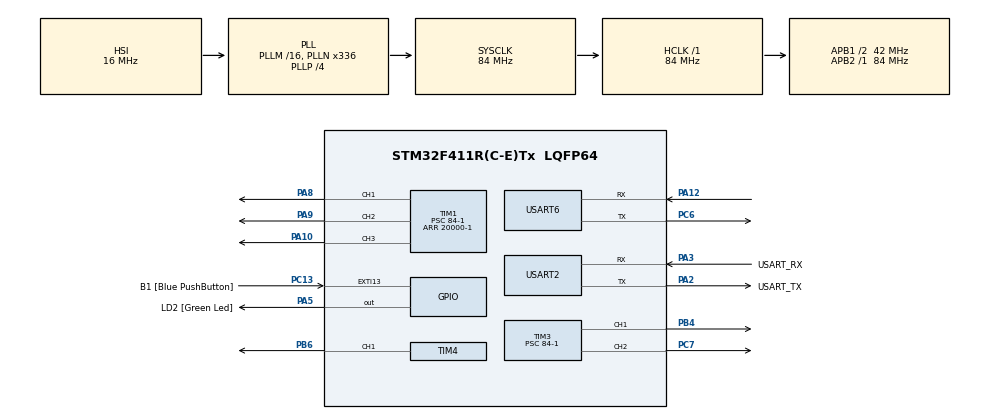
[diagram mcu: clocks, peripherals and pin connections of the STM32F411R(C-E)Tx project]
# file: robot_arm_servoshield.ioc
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Dma.Request0=USART2_TX
Dma.Request1=USART2_RX
Dma.Request2=USART6_RX
Dma.USART2_RX.1.Direction=DMA_PERIPH_TO_MEMORY
Dma.USART2_RX.1.FIFOMode=DMA_FIFOMODE_DISABLE
Dma.USART2_RX.1.Instance=DMA1_Stream5
Dma.USART2_RX.1.MemDataAlignment=DMA_MDATAALIGN_BYTE
Dma.USART2_RX.1.MemInc=DMA_MINC_ENABLE
Dma.USART2_RX.1.Mode=DMA_NORMAL
Dma.USART2_RX.1.PeriphDataAlignment=DMA_PDATAALIGN_BYTE
Dma.USART2_RX.1.PeriphInc=DMA_PINC_DISABLE
Dma.USART2_RX.1.Priority=DMA_PRIORITY_LOW
Dma.USART2_TX.0.Direction=DMA_MEMORY_TO_PERIPH
Dma.USART2_TX.0.FIFOMode=DMA_FIFOMODE_DISABLE
Dma.USART2_TX.0.Instance=DMA1_Stream6
Dma.USART2_TX.0.MemDataAlignment=DMA_MDATAALIGN_BYTE
Dma.USART2_TX.0.MemInc=DMA_MINC_ENABLE
Dma.USART2_TX.0.Mode=DMA_NORMAL
Dma.USART2_TX.0.PeriphDataAlignment=DMA_PDATAALIGN_BYTE
Dma.USART2_TX.0.PeriphInc=DMA_PINC_DISABLE
Dma.USART2_TX.0.Priority=DMA_PRIORITY_LOW
Dma.USART6_RX.2.Direction=DMA_PERIPH_TO_MEMORY
Dma.USART6_RX.2.FIFOMode=DMA_FIFOMODE_DISABLE
Dma.USART6_RX.2.Instance=DMA2_Stream1
Dma.USART6_RX.2.MemDataAlignment=DMA_MDATAALIGN_BYTE
Dma.USART6_RX.2.MemInc=DMA_MINC_ENABLE
Dma.USART6_RX.2.Mode=DMA_NORMAL
Dma.USART6_RX.2.PeriphDataAlignment=DMA_PDATAALIGN_BYTE
Dma.USART6_RX.2.PeriphInc=DMA_PINC_DISABLE
Dma.USART6_RX.2.Priority=DMA_PRIORITY_LOW
FREERTOS.Tasks01=defaultTask,0,256,StartDefaultTask,Default,NULL,Dynamic,NULL,NULL;myTask02,-3,128,StartTask02,Default,NULL,Dynamic,NULL,NULL;myTask03,-3,128,StartTask03,Default,NULL,Dynamic,NULL,NULL;myTask04,-3,128,StartTask04,Default,NULL,Dynamic,NULL,NULL;myTask05,-3,128,StartTask05,Default,NULL,Dynamic,NULL,NULL;myTask06,-3,128,StartTask06,Default,NULL,Dynamic,NULL,NULL;myTask07,-3,128,StartTask07,Default,NULL,Dynamic,NULL,NULL
FREERTOS.configUSE_NEWLIB_REENTRANT=1
Mcu.Family=STM32F4
Mcu.Name=STM32F411R(C-E)Tx
Mcu.Package=LQFP64
NVIC.DMA1_Stream5_IRQn=true\:5\:0\:false\:false\:true\:true\:false\:true\:true
NVIC.DMA1_Stream6_IRQn=true\:5\:0\:false\:false\:true\:true\:false\:true\:true
NVIC.DMA2_Stream1_IRQn=true\:5\:0\:false\:false\:true\:true\:false\:true\:true
NVIC.EXTI15_10_IRQn=true\:5\:0\:false\:false\:true\:true\:true\:true\:true
NVIC.PriorityGroup=NVIC_PRIORITYGROUP_4
NVIC.TIM1_CC_IRQn=true\:5\:0\:false\:false\:true\:true\:true\:true\:true
NVIC.TIM1_TRG_COM_TIM11_IRQn=true\:5\:0\:false\:false\:true\:false\:false\:true\:true
NVIC.TIM3_IRQn=true\:5\:0\:false\:false\:true\:true\:true\:true\:true
NVIC.TIM4_IRQn=true\:5\:0\:false\:false\:true\:true\:true\:true\:true
NVIC.TimeBase=TIM1_TRG_COM_TIM11_IRQn
NVIC.TimeBaseIP=TIM11
NVIC.USART2_IRQn=true\:5\:0\:false\:false\:true\:true\:true\:true\:true
NVIC.USART6_IRQn=true\:5\:0\:false\:false\:true\:true\:true\:true\:true
PA10.Signal=S_TIM1_CH3
PA12.Mode=Asynchronous
PA12.Signal=USART6_RX
PA13.GPIO_Label=TMS
PA13.Mode=Serial_Wire
PA13.Signal=SYS_JTMS-SWDIO
PA14.GPIO_Label=TCK
PA14.Mode=Serial_Wire
PA14.Signal=SYS_JTCK-SWCLK
PA2.GPIO_Label=USART_TX
PA2.Mode=Asynchronous
PA2.Signal=USART2_TX
PA3.GPIO_Label=USART_RX
PA3.Mode=Asynchronous
PA3.Signal=USART2_RX
PA5.GPIO_Label=LD2 [Green Led]
PA5.Signal=GPIO_Output
PA8.Signal=S_TIM1_CH1
PA9.Signal=S_TIM1_CH2
PB3.GPIO_Label=SWO
PB3.Signal=SYS_JTDO-SWO
PB4.Signal=S_TIM3_CH1
PB6.Signal=S_TIM4_CH1
PC13-ANTI_TAMP.GPIO_Label=B1 [Blue PushButton]
PC13-ANTI_TAMP.GPIO_ModeDefaultEXTI=GPIO_MODE_IT_FALLING
PC13-ANTI_TAMP.Signal=GPXTI13
PC14-OSC32_IN.Mode=LSE-External-Oscillator
PC14-OSC32_IN.Signal=RCC_OSC32_IN
PC15-OSC32_OUT.Mode=LSE-External-Oscillator
PC15-OSC32_OUT.Signal=RCC_OSC32_OUT
PC6.Mode=Asynchronous
PC6.Signal=USART6_TX
PC7.Signal=S_TIM3_CH2
PH0\ -\ OSC_IN.Mode=HSE-External-Clock-Source
PH0\ -\ OSC_IN.Signal=RCC_OSC_IN
PH1\ -\ OSC_OUT.Mode=HSE-External-Clock-Source
PH1\ -\ OSC_OUT.Signal=RCC_OSC_OUT
ProjectManager.HeapSize=0x200
ProjectManager.StackSize=0x400
ProjectManager.TargetToolchain=STM32CubeIDE
RCC.48MHZClocksFreq_Value=84000000
RCC.AHBFreq_Value=84000000
RCC.APB1CLKDivider=RCC_HCLK_DIV2
RCC.APB1Freq_Value=42000000
RCC.APB1TimFreq_Value=84000000
RCC.APB2Freq_Value=84000000
RCC.APB2TimFreq_Value=84000000
RCC.CortexFreq_Value=84000000
RCC.FLatency-AdvancedSettings=FLASH_LATENCY_2
RCC.HCLKFreq_Value=84000000
RCC.HSE_VALUE=8000000
RCC.HSI_VALUE=16000000
RCC.PLLN=336
RCC.PLLP=RCC_PLLP_DIV4
RCC.SYSCLKFreq_VALUE=84000000
RCC.SYSCLKSource=RCC_SYSCLKSOURCE_PLLCLK
RCC.VCOOutputFreq_Value=336000000
SH.S_TIM1_CH1.0=TIM1_CH1,PWM Generation1 CH1
SH.S_TIM1_CH2.0=TIM1_CH2,PWM Generation2 CH2
SH.S_TIM1_CH3.0=TIM1_CH3,PWM Generation3 CH3
SH.S_TIM3_CH1.0=TIM3_CH1,PWM Generation1 CH1
SH.S_TIM3_CH2.0=TIM3_CH2,PWM Generation2 CH2
SH.S_TIM4_CH1.0=TIM4_CH1,PWM Generation1 CH1
TIM1.Channel-PWM\ Generation1\ CH1=TIM_CHANNEL_1
TIM1.Channel-PWM\ Generation2\ CH2=TIM_CHANNEL_2
TIM1.Channel-PWM\ Generation3\ CH3=TIM_CHANNEL_3
TIM1.Period=20000-1
TIM1.Prescaler=84-1
TIM3.Channel-PWM\ Generation1\ CH1=TIM_CHANNEL_1
TIM3.Channel-PWM\ Generation2\ CH2=TIM_CHANNEL_2
TIM3.Period=20000-1
TIM3.Prescaler=84-1
TIM4.Channel-PWM\ Generation1\ CH1=TIM_CHANNEL_1
TIM4.Period=20000-1
TIM4.Prescaler=84-1
USART2.VirtualMode=VM_ASYNC
USART6.VirtualMode=VM_ASYNC
VP_FREERTOS_VS_CMSIS_V1.Mode=CMSIS_V1
VP_SYS_VS_tim11.Mode=TIM11
board=NUCLEO-F411RE

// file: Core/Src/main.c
/* USER CODE BEGIN Header */
/**
  ******************************************************************************
  * @file           : main.c
  * @brief          : Main program body
  ******************************************************************************
  * @attention
  *
  * Copyright (c) 2025 STMicroelectronics.
  * All rights reserved.
  *
  * This software is licensed under terms that can be found in the LICENSE file
  * in the root directory of this software component.
  * If no LICENSE file comes with this software, it is provided AS-IS.
  *
  ******************************************************************************
  */
/* USER CODE END Header */
#include "main.h"
#include "cmsis_os.h"

/* USER CODE BEGIN Includes */
#include <stdio.h>
#include <string.h>
#include <stdlib.h>
/* USER CODE END Includes */

/* USER CODE BEGIN PTD */
#ifdef __GNUC__
/* With GCC, small printf (option LD Linker->Libraries->Small printf
   set to 'Yes') calls __io_putchar() */
#define PUTCHAR_PROTOTYPE int __io_putchar(int ch)
#else
#define PUTCHAR_PROTOTYPE int fputc(int ch, FILE *f)
#endif /* __GNUC__ *
/* USER CODE END PTD */

/* USER CODE BEGIN PD */
#define RX_BUF_LEN 256
#define ARR_CNT 6
#define SERVO_MIN    500
#define SERVO_MAX    2500
/* USER CODE END PD */

TIM_HandleTypeDef htim1;
TIM_HandleTypeDef htim3;
TIM_HandleTypeDef htim4;

UART_HandleTypeDef huart2;
UART_HandleTypeDef huart6;
DMA_HandleTypeDef hdma_usart2_tx;
DMA_HandleTypeDef hdma_usart2_rx;
DMA_HandleTypeDef hdma_usart6_rx;

osThreadId defaultTaskHandle;
osThreadId myTask02Handle;
osThreadId myTask03Handle;
osThreadId myTask04Handle;
osThreadId myTask05Handle;
osThreadId myTask06Handle;
osThreadId myTask07Handle;
/* USER CODE BEGIN PV */
uint8_t rx_buf[RX_BUF_LEN];
//500씩 45도 회전 500~2500
//500씩 90도 회전 1000~2000 1000=0도 1500=90도 2000=180도
volatile int arrbuff[ARR_CNT] = {1500,1500,1500,1500,1500,1500};
int uartFlag=0;
volatile uint16_t rx_len;
/* 모터별 속도 파라미터 */
static const uint16_t STEP_US[ARR_CNT] = { 2, 2, 2, 2, 2, 2 };  // 1주기당 증감(µs)
static const uint16_t DT_MS [ARR_CNT] = { 3, 6, 6, 6, 6, 6 };  // 태스크 지연(ms)

/* 램프용 현재/목표 */
static volatile int16_t target_us[ARR_CNT] = {1500,1500,1500,1500,1500,1500};
static volatile int16_t curr_us  [ARR_CNT] = {1500,1500,1500,1500,1500,1500};
volatile uint8_t phase_ready = 1;
/* USER CODE END PV */

void SystemClock_Config(void);
static void MX_GPIO_Init(void);
static void MX_DMA_Init(void);
static void MX_USART2_UART_Init(void);
static void MX_TIM3_Init(void);
static void MX_TIM4_Init(void);
static void MX_TIM1_Init(void);
static void MX_USART6_UART_Init(void);
void StartDefaultTask(void const * argument);
void StartTask02(void const * argument);
void StartTask03(void const * argument);
void StartTask04(void const * argument);
void StartTask05(void const * argument);
void StartTask06(void const * argument);
void StartTask07(void const * argument);

/* USER CODE BEGIN PFP */
void servodefault(void);
/* USER CODE END PFP */

int main(void)
{

  /* MCU Configuration--------------------------------------------------------*/

  /* Reset of all peripherals, Initializes the Flash interface and the Systick. */
  HAL_Init();

  /* Configure the system clock */
  SystemClock_Config();

  /* Initialize all configured peripherals */
  MX_GPIO_Init();
  MX_DMA_Init();
  MX_USART2_UART_Init();
  MX_TIM3_Init();
  MX_TIM4_Init();
  MX_TIM1_Init();
  MX_USART6_UART_Init();
  /* USER CODE BEGIN 2 */
  if(HAL_TIM_Base_Start_IT(&htim1) != HAL_OK) //인터럽트 시작
  	Error_Handler();
  if(HAL_TIM_Base_Start_IT(&htim4) != HAL_OK) //인터럽트 시작
  	Error_Handler();
  if(HAL_TIM_Base_Start_IT(&htim3) != HAL_OK) //인터럽트 시작
  	Error_Handler();
  if(HAL_TIM_PWM_Start(&htim1, TIM_CHANNEL_1) != HAL_OK)
	Error_Handler();
  if(HAL_TIM_PWM_Start(&htim1, TIM_CHANNEL_2) != HAL_OK)
	Error_Handler();
  if(HAL_TIM_PWM_Start(&htim1, TIM_CHANNEL_3) != HAL_OK)
	Error_Handler();
  if(HAL_TIM_PWM_Start(&htim3, TIM_CHANNEL_1) != HAL_OK)
	Error_Handler();
  if(HAL_TIM_PWM_Start(&htim3, TIM_CHANNEL_2) != HAL_OK)
	Error_Handler();
  if(HAL_TIM_PWM_Start(&htim4, TIM_CHANNEL_1) != HAL_OK)
	Error_Handler();

  HAL_UARTEx_ReceiveToIdle_DMA(&huart6, rx_buf, RX_BUF_LEN);//uart활성화

  //서보모터 초기값
  servodefault();

  /* USER CODE END 2 */

  /* Create the thread(s) */
  /* definition and creation of defaultTask */
  osThreadDef(defaultTask, StartDefaultTask, osPriorityNormal, 0, 256);
  defaultTaskHandle = osThreadCreate(osThread(defaultTask), NULL);

  /* definition and creation of myTask02 */
  osThreadDef(myTask02, StartTask02, osPriorityIdle, 0, 128);
  myTask02Handle = osThreadCreate(osThread(myTask02), NULL);

  /* definition and creation of myTask03 */
  osThreadDef(myTask03, StartTask03, osPriorityIdle, 0, 128);
  myTask03Handle = osThreadCreate(osThread(myTask03), NULL);

  /* definition and creation of myTask04 */
  osThreadDef(myTask04, StartTask04, osPriorityIdle, 0, 128);
  myTask04Handle = osThreadCreate(osThread(myTask04), NULL);

  /* definition and creation of myTask05 */
  osThreadDef(myTask05, StartTask05, osPriorityIdle, 0, 128);
  myTask05Handle = osThreadCreate(osThread(myTask05), NULL);

  /* definition and creation of myTask06 */
  osThreadDef(myTask06, StartTask06, osPriorityIdle, 0, 128);
  myTask06Handle = osThreadCreate(osThread(myTask06), NULL);

  /* definition and creation of myTask07 */
  osThreadDef(myTask07, StartTask07, osPriorityIdle, 0, 128);
  myTask07Handle = osThreadCreate(osThread(myTask07), NULL);

  /* Start scheduler */
  osKernelStart();

  /* We should never get here as control is now taken by the scheduler */

  /* Infinite loop */
  while (1)
  {

  }
}

void SystemClock_Config(void)
{
  RCC_OscInitTypeDef RCC_OscInitStruct = {0};
  RCC_ClkInitTypeDef RCC_ClkInitStruct = {0};

  /** Configure the main internal regulator output voltage
  */
  __HAL_RCC_PWR_CLK_ENABLE();
  __HAL_PWR_VOLTAGESCALING_CONFIG(PWR_REGULATOR_VOLTAGE_SCALE1);

  /** Initializes the RCC Oscillators according to the specified parameters
  * in the RCC_OscInitTypeDef structure.
  */
  RCC_OscInitStruct.OscillatorType = RCC_OSCILLATORTYPE_HSI;
  RCC_OscInitStruct.HSIState = RCC_HSI_ON;
  RCC_OscInitStruct.HSICalibrationValue = RCC_HSICALIBRATION_DEFAULT;
  RCC_OscInitStruct.PLL.PLLState = RCC_PLL_ON;
  RCC_OscInitStruct.PLL.PLLSource = RCC_PLLSOURCE_HSI;
  RCC_OscInitStruct.PLL.PLLM = 16;
  RCC_OscInitStruct.PLL.PLLN = 336;
  RCC_OscInitStruct.PLL.PLLP = RCC_PLLP_DIV4;
  RCC_OscInitStruct.PLL.PLLQ = 4;
  if (HAL_RCC_OscConfig(&RCC_OscInitStruct) != HAL_OK)
  {
    Error_Handler();
  }

  /** Initializes the CPU, AHB and APB buses clocks
  */
  RCC_ClkInitStruct.ClockType = RCC_CLOCKTYPE_HCLK|RCC_CLOCKTYPE_SYSCLK
                              |RCC_CLOCKTYPE_PCLK1|RCC_CLOCKTYPE_PCLK2;
  RCC_ClkInitStruct.SYSCLKSource = RCC_SYSCLKSOURCE_PLLCLK;
  RCC_ClkInitStruct.AHBCLKDivider = RCC_SYSCLK_DIV1;
  RCC_ClkInitStruct.APB1CLKDivider = RCC_HCLK_DIV2;
  RCC_ClkInitStruct.APB2CLKDivider = RCC_HCLK_DIV1;

  if (HAL_RCC_ClockConfig(&RCC_ClkInitStruct, FLASH_LATENCY_2) != HAL_OK)
  {
    Error_Handler();
  }
}

static void MX_TIM1_Init(void)
{

  TIM_MasterConfigTypeDef sMasterConfig = {0};
  TIM_OC_InitTypeDef sConfigOC = {0};
  TIM_BreakDeadTimeConfigTypeDef sBreakDeadTimeConfig = {0};

  htim1.Instance = TIM1;
  htim1.Init.Prescaler = 84-1;
  htim1.Init.CounterMode = TIM_COUNTERMODE_UP;
  htim1.Init.Period = 20000-1;
  htim1.Init.ClockDivision = TIM_CLOCKDIVISION_DIV1;
  htim1.Init.RepetitionCounter = 0;
  htim1.Init.AutoReloadPreload = TIM_AUTORELOAD_PRELOAD_DISABLE;
  if (HAL_TIM_PWM_Init(&htim1) != HAL_OK)
  {
    Error_Handler();
  }
  sMasterConfig.MasterOutputTrigger = TIM_TRGO_RESET;
  sMasterConfig.MasterSlaveMode = TIM_MASTERSLAVEMODE_DISABLE;
  if (HAL_TIMEx_MasterConfigSynchronization(&htim1, &sMasterConfig) != HAL_OK)
  {
    Error_Handler();
  }
  sConfigOC.OCMode = TIM_OCMODE_PWM1;
  sConfigOC.Pulse = 0;
  sConfigOC.OCPolarity = TIM_OCPOLARITY_HIGH;
  sConfigOC.OCNPolarity = TIM_OCNPOLARITY_HIGH;
  sConfigOC.OCFastMode = TIM_OCFAST_DISABLE;
  sConfigOC.OCIdleState = TIM_OCIDLESTATE_RESET;
  sConfigOC.OCNIdleState = TIM_OCNIDLESTATE_RESET;
  if (HAL_TIM_PWM_ConfigChannel(&htim1, &sConfigOC, TIM_CHANNEL_1) != HAL_OK)
  {
    Error_Handler();
  }
  if (HAL_TIM_PWM_ConfigChannel(&htim1, &sConfigOC, TIM_CHANNEL_2) != HAL_OK)
  {
    Error_Handler();
  }
  if (HAL_TIM_PWM_ConfigChannel(&htim1, &sConfigOC, TIM_CHANNEL_3) != HAL_OK)
  {
    Error_Handler();
  }
  sBreakDeadTimeConfig.OffStateRunMode = TIM_OSSR_DISABLE;
  sBreakDeadTimeConfig.OffStateIDLEMode = TIM_OSSI_DISABLE;
  sBreakDeadTimeConfig.LockLevel = TIM_LOCKLEVEL_OFF;
  sBreakDeadTimeConfig.DeadTime = 0;
  sBreakDeadTimeConfig.BreakState = TIM_BREAK_DISABLE;
  sBreakDeadTimeConfig.BreakPolarity = TIM_BREAKPOLARITY_HIGH;
  sBreakDeadTimeConfig.AutomaticOutput = TIM_AUTOMATICOUTPUT_DISABLE;
  if (HAL_TIMEx_ConfigBreakDeadTime(&htim1, &sBreakDeadTimeConfig) != HAL_OK)
  {
    Error_Handler();
  }
  HAL_TIM_MspPostInit(&htim1);

}

static void MX_TIM3_Init(void)
{

  TIM_MasterConfigTypeDef sMasterConfig = {0};
  TIM_OC_InitTypeDef sConfigOC = {0};

  htim3.Instance = TIM3;
  htim3.Init.Prescaler = 84-1;
  htim3.Init.CounterMode = TIM_COUNTERMODE_UP;
  htim3.Init.Period = 20000-1;
  htim3.Init.ClockDivision = TIM_CLOCKDIVISION_DIV1;
  htim3.Init.AutoReloadPreload = TIM_AUTORELOAD_PRELOAD_DISABLE;
  if (HAL_TIM_PWM_Init(&htim3) != HAL_OK)
  {
    Error_Handler();
  }
  sMasterConfig.MasterOutputTrigger = TIM_TRGO_RESET;
  sMasterConfig.MasterSlaveMode = TIM_MASTERSLAVEMODE_DISABLE;
  if (HAL_TIMEx_MasterConfigSynchronization(&htim3, &sMasterConfig) != HAL_OK)
  {
    Error_Handler();
  }
  sConfigOC.OCMode = TIM_OCMODE_PWM1;
  sConfigOC.Pulse = 0;
  sConfigOC.OCPolarity = TIM_OCPOLARITY_HIGH;
  sConfigOC.OCFastMode = TIM_OCFAST_DISABLE;
  if (HAL_TIM_PWM_ConfigChannel(&htim3, &sConfigOC, TIM_CHANNEL_1) != HAL_OK)
  {
    Error_Handler();
  }
  if (HAL_TIM_PWM_ConfigChannel(&htim3, &sConfigOC, TIM_CHANNEL_2) != HAL_OK)
  {
    Error_Handler();
  }
  HAL_TIM_MspPostInit(&htim3);

}

static void MX_TIM4_Init(void)
{

  TIM_MasterConfigTypeDef sMasterConfig = {0};
  TIM_OC_InitTypeDef sConfigOC = {0};

  htim4.Instance = TIM4;
  htim4.Init.Prescaler = 84-1;
  htim4.Init.CounterMode = TIM_COUNTERMODE_UP;
  htim4.Init.Period = 20000-1;
  htim4.Init.ClockDivision = TIM_CLOCKDIVISION_DIV1;
  htim4.Init.AutoReloadPreload = TIM_AUTORELOAD_PRELOAD_DISABLE;
  if (HAL_TIM_PWM_Init(&htim4) != HAL_OK)
  {
    Error_Handler();
  }
  sMasterConfig.MasterOutputTrigger = TIM_TRGO_RESET;
  sMasterConfig.MasterSlaveMode = TIM_MASTERSLAVEMODE_DISABLE;
  if (HAL_TIMEx_MasterConfigSynchronization(&htim4, &sMasterConfig) != HAL_OK)
  {
    Error_Handler();
  }
  sConfigOC.OCMode = TIM_OCMODE_PWM1;
  sConfigOC.Pulse = 0;
  sConfigOC.OCPolarity = TIM_OCPOLARITY_HIGH;
  sConfigOC.OCFastMode = TIM_OCFAST_DISABLE;
  if (HAL_TIM_PWM_ConfigChannel(&htim4, &sConfigOC, TIM_CHANNEL_1) != HAL_OK)
  {
    Error_Handler();
  }
  HAL_TIM_MspPostInit(&htim4);

}

static void MX_USART2_UART_Init(void)
{

  huart2.Instance = USART2;
  huart2.Init.BaudRate = 115200;
  huart2.Init.WordLength = UART_WORDLENGTH_8B;
  huart2.Init.StopBits = UART_STOPBITS_1;
  huart2.Init.Parity = UART_PARITY_NONE;
  huart2.Init.Mode = UART_MODE_TX_RX;
  huart2.Init.HwFlowCtl = UART_HWCONTROL_NONE;
  huart2.Init.OverSampling = UART_OVERSAMPLING_16;
  if (HAL_UART_Init(&huart2) != HAL_OK)
  {
    Error_Handler();
  }

}

static void MX_USART6_UART_Init(void)
{

  huart6.Instance = USART6;
  huart6.Init.BaudRate = 115200;
  huart6.Init.WordLength = UART_WORDLENGTH_8B;
  huart6.Init.StopBits = UART_STOPBITS_1;
  huart6.Init.Parity = UART_PARITY_NONE;
  huart6.Init.Mode = UART_MODE_TX_RX;
  huart6.Init.HwFlowCtl = UART_HWCONTROL_NONE;
  huart6.Init.OverSampling = UART_OVERSAMPLING_16;
  if (HAL_UART_Init(&huart6) != HAL_OK)
  {
    Error_Handler();
  }

}

static void MX_DMA_Init(void)
{

  /* DMA controller clock enable */
  __HAL_RCC_DMA1_CLK_ENABLE();
  __HAL_RCC_DMA2_CLK_ENABLE();

  /* DMA interrupt init */
  /* DMA1_Stream5_IRQn interrupt configuration */
  HAL_NVIC_SetPriority(DMA1_Stream5_IRQn, 5, 0);
  HAL_NVIC_EnableIRQ(DMA1_Stream5_IRQn);
  /* DMA1_Stream6_IRQn interrupt configuration */
  HAL_NVIC_SetPriority(DMA1_Stream6_IRQn, 5, 0);
  HAL_NVIC_EnableIRQ(DMA1_Stream6_IRQn);
  /* DMA2_Stream1_IRQn interrupt configuration */
  HAL_NVIC_SetPriority(DMA2_Stream1_IRQn, 5, 0);
  HAL_NVIC_EnableIRQ(DMA2_Stream1_IRQn);

}

static void MX_GPIO_Init(void)
{
  GPIO_InitTypeDef GPIO_InitStruct = {0};

  /* GPIO Ports Clock Enable */
  __HAL_RCC_GPIOC_CLK_ENABLE();
  __HAL_RCC_GPIOH_CLK_ENABLE();
  __HAL_RCC_GPIOA_CLK_ENABLE();
  __HAL_RCC_GPIOB_CLK_ENABLE();

  /*Configure GPIO pin Output Level */
  HAL_GPIO_WritePin(LD2_GPIO_Port, LD2_Pin, GPIO_PIN_RESET);

  /*Configure GPIO pin : B1_Pin */
  GPIO_InitStruct.Pin = B1_Pin;
  GPIO_InitStruct.Mode = GPIO_MODE_IT_FALLING;
  GPIO_InitStruct.Pull = GPIO_NOPULL;
  HAL_GPIO_Init(B1_GPIO_Port, &GPIO_InitStruct);

  /*Configure GPIO pin : LD2_Pin */
  GPIO_InitStruct.Pin = LD2_Pin;
  GPIO_InitStruct.Mode = GPIO_MODE_OUTPUT_PP;
  GPIO_InitStruct.Pull = GPIO_NOPULL;
  GPIO_InitStruct.Speed = GPIO_SPEED_FREQ_LOW;
  HAL_GPIO_Init(LD2_GPIO_Port, &GPIO_InitStruct);

  /* EXTI interrupt init*/
  HAL_NVIC_SetPriority(EXTI15_10_IRQn, 5, 0);
  HAL_NVIC_EnableIRQ(EXTI15_10_IRQn);

}

/* USER CODE BEGIN 4 */
void HAL_UARTEx_RxEventCallback(UART_HandleTypeDef *huart, uint16_t Size) //uart인터럽트
{
  if(huart->Instance==USART6){
    // rx_buf[0..Size-1] 가 이번 프레임
    // Circular 유지하려면: __HAL_DMA_DISABLE_IT(huart->hdmarx, DMA_IT_HT); // 선택
	  if (Size >= RX_BUF_LEN) Size = RX_BUF_LEN-1;
	  rx_buf[Size] = '\0';          // 문자열 종료
	  rx_len = Size;
	  uartFlag = 1;
	  HAL_UART_Transmit(&huart2, rx_buf, Size, 100);
	  HAL_UARTEx_ReceiveToIdle_DMA(&huart6, rx_buf, RX_BUF_LEN);
  }
}
void servodefault(void)
{
	//서보모터 초기값
	__HAL_TIM_SetCompare(&htim1, TIM_CHANNEL_1, 1500); //90도 서보1
	__HAL_TIM_SetCompare(&htim1, TIM_CHANNEL_2, 1500); //90도 서보2
	__HAL_TIM_SetCompare(&htim1, TIM_CHANNEL_3, 1500); //90도 서보3
	__HAL_TIM_SetCompare(&htim3, TIM_CHANNEL_1, 1500); //90도 서보4
	__HAL_TIM_SetCompare(&htim3, TIM_CHANNEL_2, 1500); //90도 서보5
	__HAL_TIM_SetCompare(&htim4, TIM_CHANNEL_1, 1500); //90도 서보6

    int16_t initv[ARR_CNT] = {1500,1500,1500,1500,1500,1500};
    for (int i=0;i<ARR_CNT;i++){
        curr_us[i] = initv[i];
        target_us[i] = initv[i];
        arrbuff[i] = initv[i];
    }
}

PUTCHAR_PROTOTYPE
{
  /* Place your implementation of fputc here */
  /* e.g. write a character to the USART6 and Loop until the end of transmission */
  HAL_UART_Transmit(&huart2, (uint8_t *)&ch, 1, 0xFFFF);

  return ch;
}
/* USER CODE END 4 */

void StartDefaultTask(void const * argument)
{
  /* USER CODE BEGIN 5 */
  /* Infinite loop */
  for(;;)
  {
	if(uartFlag)
	{
	    int cnt = 0;
	    char *tok = strtok((char*)rx_buf, "@\r\n");
	    while (tok && cnt < ARR_CNT) {
	        arrbuff[cnt++] = atoi(tok);
	        tok = strtok(NULL, "@\r\n");
	    }
	    if (cnt!=ARR_CNT) { /* 잘못된 프레임 → 버림 */ }
	    else{
	        for (int i=0;i<ARR_CNT;i++) {
	            int v = arrbuff[i];
	            if (v <= SERVO_MIN) v = SERVO_MIN;
	            if (v >= SERVO_MAX) v = SERVO_MAX;
	            target_us[i] = (int16_t)v;   // 목표 갱신
	        }
	        phase_ready = 0;
	    }
		memset(rx_buf, 0, RX_BUF_LEN);
		uartFlag = 0;
	}

    osDelay(1);
  }
  /* USER CODE END 5 */
}

void StartTask02(void const * argument)
{
  /* USER CODE BEGIN StartTask02 */
  /* Infinite loop */
  for(;;)
  {
	int i = 0;
	int16_t cur = curr_us[i], tgt = target_us[i];
	int16_t d = tgt - cur, step = STEP_US[i];

	if (d > step) cur += step;
	else if (d < -step) cur -= step;
	else cur = tgt;

	curr_us[i] = cur;
	__HAL_TIM_SetCompare(&htim1, TIM_CHANNEL_1, (uint16_t)cur);

	 //목표 도달 시 나머지 축 시작 허용
	if (cur == tgt) phase_ready = 1;

	osDelay(4);
  }
  /* USER CODE END StartTask02 */
}

void StartTask03(void const * argument)
{
  /* USER CODE BEGIN StartTask03 */
  /* Infinite loop */
  for(;;)
  {
	if (!phase_ready) { osDelay(1); continue; }
	int i = 1;
	int16_t cur = curr_us[i], tgt = target_us[i], d = tgt - cur, step = STEP_US[i];
	if (d > step) cur += step; else if (d < -step) cur -= step; else cur = tgt;
	curr_us[i] = cur;
	__HAL_TIM_SetCompare(&htim1, TIM_CHANNEL_2, (uint16_t)cur);
	osDelay(DT_MS[i]);
  }
  /* USER CODE END StartTask03 */
}

void StartTask04(void const * argument)
{
  /* USER CODE BEGIN StartTask04 */
  /* Infinite loop */
  for(;;)
  {
	if (!phase_ready) { osDelay(1); continue; }
	int i = 2;
	int16_t cur = curr_us[i], tgt = target_us[i], d = tgt - cur, step = STEP_US[i];
	if (d > step) cur += step; else if (d < -step) cur -= step; else cur = tgt;
	curr_us[i] = cur;
	__HAL_TIM_SetCompare(&htim1, TIM_CHANNEL_3, (uint16_t)cur);
	osDelay(DT_MS[i]);
  }
  /* USER CODE END StartTask04 */
}

void StartTask05(void const * argument)
{
  /* USER CODE BEGIN StartTask05 */
  /* Infinite loop */
  for(;;)
  {
	if (!phase_ready) { osDelay(1); continue; }
	int i = 3;
	int16_t cur = curr_us[i], tgt = target_us[i], d = tgt - cur, step = STEP_US[i];
	if (d > step) cur += step; else if (d < -step) cur -= step; else cur = tgt;
	curr_us[i] = cur;
	__HAL_TIM_SetCompare(&htim3, TIM_CHANNEL_1, (uint16_t)cur);
	osDelay(DT_MS[i]);
  }
  /* USER CODE END StartTask05 */
}

/* USER CODE BEGIN Header_StartTask06 */
/**
* @brief Function implementing the myTask06 thread.gpt
* @param argument: Not used
* @retval None
*/
/* USER CODE END Header_StartTask06 */
void StartTask06(void const * argument)
{
  /* USER CODE BEGIN StartTask06 */
  /* Infinite loop */
  for(;;)
  {
	if (!phase_ready) { osDelay(1); continue; }
	int i = 4;
	int16_t cur = curr_us[i], tgt = target_us[i], d = tgt - cur, step = STEP_US[i];
	if (d > step) cur += step; else if (d < -step) cur -= step; else cur = tgt;
	curr_us[i] = cur;
	__HAL_TIM_SetCompare(&htim3, TIM_CHANNEL_2, (uint16_t)cur);
	osDelay(DT_MS[i]);
  }
  /* USER CODE END StartTask06 */
}

void StartTask07(void const * argument)
{
  /* USER CODE BEGIN StartTask07 */
  /* Infinite loop */
  for(;;)
  {
	if (!phase_ready) { osDelay(1); continue; }
	int i = 5;
	int16_t cur = curr_us[i], tgt = target_us[i], d = tgt - cur, step = STEP_US[i];
	if (d > step) cur += step; else if (d < -step) cur -= step; else cur = tgt;
	curr_us[i] = cur;
	__HAL_TIM_SetCompare(&htim4, TIM_CHANNEL_1, (uint16_t)cur);
	osDelay(DT_MS[i]);
  }
  /* USER CODE END StartTask07 */
}

void HAL_TIM_PeriodElapsedCallback(TIM_HandleTypeDef *htim)
{
  if (htim->Instance == TIM11)
  {
    HAL_IncTick();
  }
}

void Error_Handler(void)
{
  __disable_irq();
  while (1)
  {
  }
}
